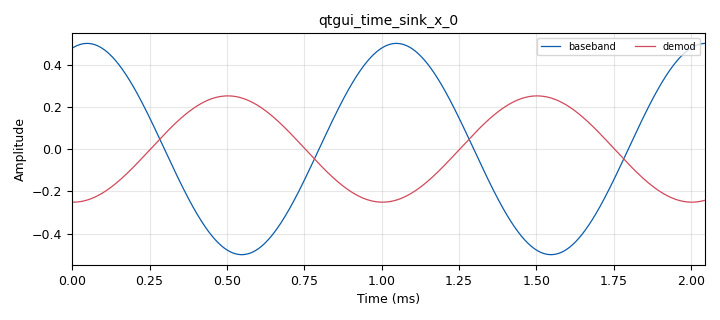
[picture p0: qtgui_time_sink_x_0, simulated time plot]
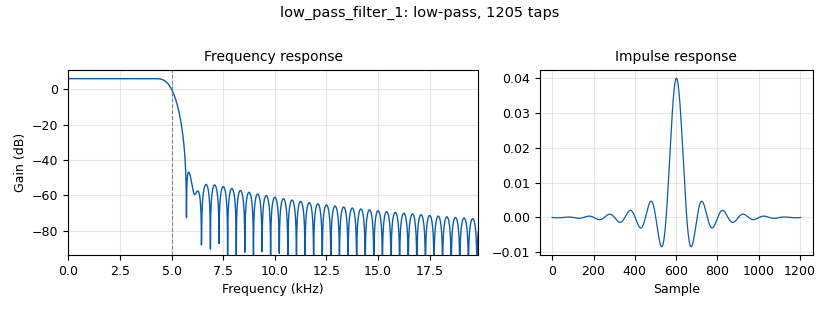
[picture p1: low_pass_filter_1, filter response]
options:
  parameters:
    author: wcc
    generate_options: qt_gui
    id: lab3_wfm_demod
    output_language: python
    title: lab3_fm_demod
  states: {}

blocks:
- name: bband_freq
  id: variable_qtgui_range
  parameters:
    label: base band frequency
    orient: Qt.Horizontal
    rangeType: int
    start: '0'
    step: '1'
    stop: '5000'
    value: '1000'
  states: {}
- name: samp_rate
  id: variable
  parameters:
    value: '500000'
  states: {}
- name: analog_const_source_x_0
  id: analog_const_source_x
  parameters:
    const: '1'
    type: float
  states: {}
- name: analog_sig_source_x_0_0
  id: analog_sig_source_x
  parameters:
    amp: '0.5'
    freq: bband_freq
    offset: '0'
    phase: '0'
    samp_rate: samp_rate
    type: float
    waveform: analog.GR_COS_WAVE
  states: {}
- name: blocks_complex_to_arg_0
  id: blocks_complex_to_arg
  parameters: {}
  states: {}
- name: blocks_conjugate_cc_0
  id: blocks_conjugate_cc
  parameters: {}
  states: {}
- name: blocks_delay_0
  id: blocks_delay
  parameters:
    delay: '1'
    type: complex
  states: {}
- name: blocks_integrate_xx_0
  id: blocks_integrate_xx
  parameters:
    decim: '1'
    type: float
  states: {}
- name: blocks_magphase_to_complex_0
  id: blocks_magphase_to_complex
  parameters: {}
  states: {}
- name: blocks_multiply_const_vxx_0
  id: blocks_multiply_const_vxx
  parameters:
    const: '20'
    type: float
  states: {}
- name: blocks_multiply_xx_0
  id: blocks_multiply_xx
  parameters:
    type: complex
  states: {}
- name: blocks_throttle_0
  id: blocks_throttle
  parameters:
    samples_per_second: samp_rate
    type: float
  states: {}
- name: low_pass_filter_1
  id: low_pass_filter
  parameters:
    cutoff_freq: 5e3
    decim: '1'
    gain: '2'
    samp_rate: samp_rate
    type: fir_filter_fff
    width: 1e3
    win: firdes.WIN_HAMMING
  states: {}
- name: qtgui_time_sink_x_0
  id: qtgui_time_sink_x
  parameters:
    autoscale: 'True'
    entags: 'False'
    label1: baseband
    label2: demod
    nconnections: '2'
    size: '1024'
    srate: samp_rate
    type: float
  states: {}

connections:
- [analog_const_source_x_0, '0', blocks_magphase_to_complex_0, '0']
- [analog_sig_source_x_0_0, '0', blocks_integrate_xx_0, '0']
- [analog_sig_source_x_0_0, '0', qtgui_time_sink_x_0, '0']
- [blocks_complex_to_arg_0, '0', low_pass_filter_1, '0']
- [blocks_conjugate_cc_0, '0', blocks_multiply_xx_0, '1']
- [blocks_delay_0, '0', blocks_multiply_xx_0, '0']
- [blocks_integrate_xx_0, '0', blocks_throttle_0, '0']
- [blocks_magphase_to_complex_0, '0', blocks_conjugate_cc_0, '0']
- [blocks_magphase_to_complex_0, '0', blocks_delay_0, '0']
- [blocks_multiply_const_vxx_0, '0', blocks_magphase_to_complex_0, '1']
- [blocks_multiply_xx_0, '0', blocks_complex_to_arg_0, '0']
- [blocks_throttle_0, '0', blocks_multiply_const_vxx_0, '0']
- [low_pass_filter_1, '0', qtgui_time_sink_x_0, '1']

metadata:
  file_format: 1
